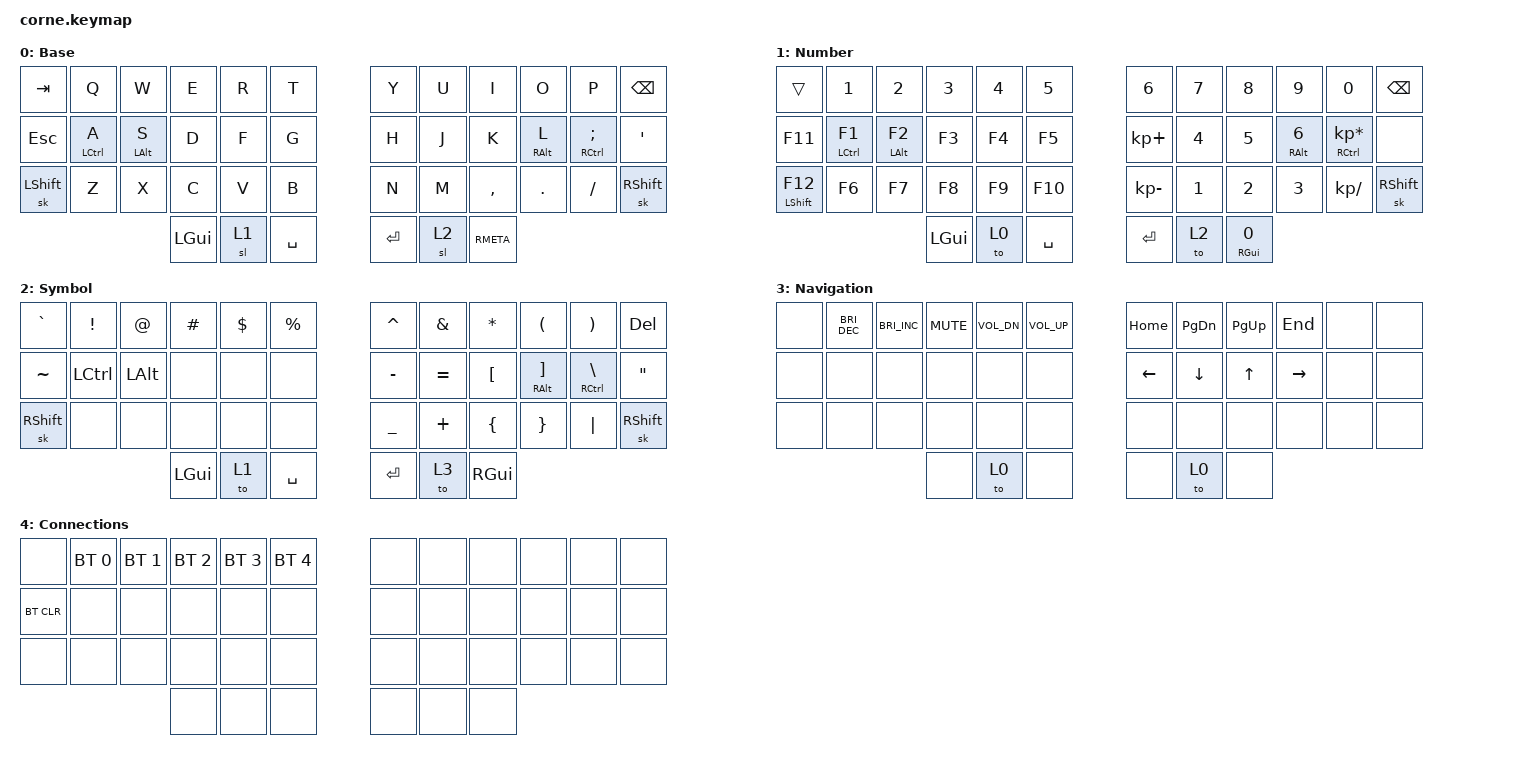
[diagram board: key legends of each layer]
/*
 * Copyright (c) 2020 The ZMK Contributors
 *
 * SPDX-License-Identifier: MIT
 */

#include <behaviors.dtsi>
#include <dt-bindings/zmk/bt.h>
#include <dt-bindings/zmk/keys.h>

&sl { ignore-modifiers; };

/ {
    combos {
        compatible = "zmk,combos";

        Bluetooth {
            bindings = <&mo 4>;
            key-positions = <37 40 23>;
            layers = <0>;
        };

        Navigation {
            bindings = <&mo 3>;
            key-positions = <12 37>;
            layers = <0 2 1>;
        };
    };

    behaviors {
        hrm: hrm {
            compatible = "zmk,behavior-hold-tap";
            label = "HomeRow Mods";
            bindings = <&kp>, <&kp>;

            #binding-cells = <2>;
            tapping-term-ms = <200>;
            flavor = "tap-preferred";
            quick-tap-ms = <150>;
        };
    };

    keymap {
        compatible = "zmk,keymap";

        base {
            // -----------------------------------------------------------------------------------------
            // |  TAB |  Q  |  W  |  E  |  R  |  T  |   |  Y  |  U   |  I  |  O  |  P  | BKSP |
            // | CTRL |  A  |  S  |  D  |  F  |  G  |   |  H  |  J   |  K  |  L  |  ;  |  '   |
            // | SHFT |  Z  |  X  |  C  |  V  |  B  |   |  N  |  M   |  ,  |  .  |  /  | ESC  |
            //                    | GUI | LWR | SPC |   | ENT | RSE  | ALT |

            display-name = "Base";
            bindings = <
&kp TAB         &kp Q         &kp W            &kp E     &kp R  &kp T        &kp Y    &kp U  &kp I      &kp O             &kp P                    &kp BSPC
&kp ESCAPE      &hrm LCTRL A  &hrm LEFT_ALT S  &kp D     &kp F  &kp G        &kp H    &kp J  &kp K      &hrm RIGHT_ALT L  &hrm RIGHT_CONTROL SEMI  &kp SQT
&sk LEFT_SHIFT  &kp Z         &kp X            &kp C     &kp V  &kp B        &kp N    &kp M  &kp COMMA  &kp DOT           &kp FSLH                 &sk RIGHT_SHIFT
                                               &kp LGUI  &sl 1  &kp SPACE    &kp RET  &sl 2  &kp RMETA
            >;
        };

        number {
            // -----------------------------------------------------------------------------------------
            // |  TAB |  1  |  2  |  3  |  4  |  5  |   |  6  |  7  |  8  |  9  |  0  | BKSP |
            // | BTCLR| BT1 | BT2 | BT3 | BT4 | BT5 |   | LFT | DWN |  UP | RGT |     |      |
            // | SHFT |     |     |     |     |     |   |     |     |     |     |     |      |
            //                    | GUI |     | SPC |   | ENT |     | ALT |

            display-name = "Number";
            bindings = <
&trans              &kp N1                &kp N2            &kp N3    &kp N4  &kp N5       &kp N6        &kp N7        &kp N8             &kp N9                   &kp N0                          &kp BSPC
&kp F11             &hrm LEFT_CONTROL F1  &hrm LEFT_ALT F2  &kp F3    &kp F4  &kp F5       &kp KP_PLUS   &kp NUMBER_4  &kp NUMBER_5       &hrm RIGHT_ALT NUMBER_6  &hrm RIGHT_CONTROL KP_MULTIPLY  &none
&mt LEFT_SHIFT F12  &kp F6                &kp F7            &kp F8    &kp F9  &kp F10      &kp KP_MINUS  &kp NUMBER_1  &kp NUMBER_2       &kp NUMBER_3             &kp KP_DIVIDE                   &sk RIGHT_SHIFT
                                                            &kp LGUI  &to 0   &kp SPACE    &kp RET       &to 2         &mt RGUI NUMBER_0
            >;
        };

        symbol {
            // -----------------------------------------------------------------------------------------
            // |  TAB |  !  |  @  |  #  |  $  |  %  |   |  ^  |  &  |  *  |  (  |  )  | BKSP |
            // | CTRL |     |     |     |     |     |   |  -  |  =  |  [  |  ]  |  \  |  `   |
            // | SHFT |     |     |     |     |     |   |  _  |  +  |  {  |  }  | "|" |  ~   |
            //                    | GUI |     | SPC |   | ENT |     | ALT |

            display-name = "Symbol";
            bindings = <
&kp GRAVE        &kp EXCL          &kp AT        &kp HASH  &kp DLLR  &kp PRCNT    &kp CARET  &kp AMPS   &kp ASTERISK  &kp LPAR             &kp RPAR                 &kp DELETE
&kp TILDE        &kp LEFT_CONTROL  &kp LEFT_ALT  &none     &none     &none        &kp MINUS  &kp EQUAL  &kp LBKT      &hrm RIGHT_ALT RBKT  &hrm RIGHT_CONTROL BSLH  &kp DOUBLE_QUOTES
&sk RIGHT_SHIFT  &none             &none         &none     &none     &none        &kp UNDER  &kp PLUS   &kp LBRC      &kp RBRC             &kp PIPE                 &sk RIGHT_SHIFT
                                                 &kp LGUI  &to 1     &kp SPACE    &kp RET    &to 3      &kp RGUI
            >;
        };

        navigation {
            display-name = "Navigation";
            bindings = <
&none  &kp C_BRIGHTNESS_DEC  &kp C_BRIGHTNESS_INC  &kp K_MUTE  &kp C_VOL_DN  &kp C_VOLUME_UP    &kp HOME  &kp PG_DN  &kp PG_UP  &kp END    &none  &none
&none  &none                 &none                 &none       &none         &none              &kp LEFT  &kp DOWN   &kp UP     &kp RIGHT  &none  &none
&none  &none                 &none                 &none       &none         &none              &none     &none      &none      &none      &none  &none
                                                   &none       &to 0         &none              &none     &to 0      &none
            >;
        };

        connections {
            display-name = "Connections";
            bindings = <
&none       &bt BT_SEL 0  &bt BT_SEL 1  &bt BT_SEL 2  &bt BT_SEL 3  &bt BT_SEL 4    &none  &none  &none  &none  &none  &none
&bt BT_CLR  &none         &none         &none         &none         &none           &none  &none  &none  &none  &none  &none
&none       &none         &none         &none         &none         &none           &none  &none  &none  &none  &none  &none
                                        &none         &none         &none           &none  &none  &none
            >;
        };
    };
};
